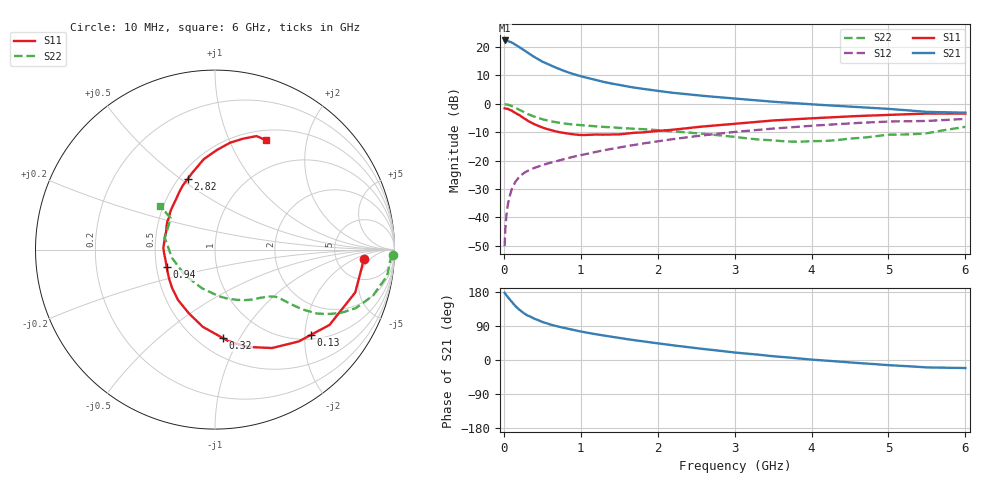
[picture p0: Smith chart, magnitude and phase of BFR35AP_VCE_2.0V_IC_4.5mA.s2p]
! Infineon Technologies  Discrete & RF Semiconductors
! BFR35AP
! VCE =  2.0 V,  IC =  4.5 mA
! Common Emitter S-Parameters:  Nov 2015
# GHz  S  MA  R  50
!  f  S11  S21  S12  S22
! GHz  MAG  ANG  MAG  ANG  MAG  ANG  MAG  ANG
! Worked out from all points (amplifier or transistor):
!   210 points, 10 MHz to 6 GHz, reference 50 ohm
!   highest |S21| = 22.3 dB at 10 MHz (marker M1)
!   |S21| within 3 dB of that: start of sweep to 237.3 MHz
!   unconditionally stable (mu >= 1): 791.4 MHz to 4.128 GHz; 5.296 GHz to 5.831 GHz
!   at 185 MHz: K = 0.36, MSG = 23.3 dB, |S12| = -26.3 dB
!   at 1.52 GHz: K = 1.15, MAG = 8.6 dB, |S12| = -15.3 dB
!   at 6 GHz: K = 0.99, MSG = 1.1 dB, |S12| = -5.3 dB
!   S11 on the Smith chart (normalised r, x): 10 MHz: 10, -3; 130 MHz: 1.11, -2.15; 320 MHz: 0.65, -0.85; 940 MHz: 0.57, -0.12; 2.82 GHz: 0.55, +0.53; 6 GHz: 0.62, +1.38
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0.01  0.8309 -3.5  13.06 177.4  0.0031 87.0  0.9908 -1.7
0.025  0.8207 -8.7  12.98 173.0  0.008 84.4  0.9764 -4.3
0.055  0.8089 -18.5  12.7 165.1  0.0175 79.1  0.9644 -9.3
0.1  0.7639 -33.3  12.11 153.9  0.0304 72.7  0.9174 -16.2
0.13  0.7156 -41.5  11.42 147.0  0.0374 68.0  0.8761 -19.9
0.15  0.6926 -47.6  11.06 142.0  0.0421 65.8  0.8507 -22.5
0.2  0.6338 -59.9  10 133.0  0.0514 62.0  0.7853 -26.7
0.26  0.5583 -73.7  8.819 123.5  0.06 57.5  0.7109 -30.3
0.32  0.4953 -84.8  7.792 116.6  0.0667 55.5  0.6516 -32.6
0.4  0.4359 -98.9  6.627 108.7  0.0745 53.6  0.5886 -34.4
0.5  0.3834 -112.4  5.532 100.5  0.0831 52.8  0.5338 -35.5
0.6  0.3483 -126.2  4.787 93.9  0.091 52.6  0.4953 -36.1
0.72  0.3167 -139.9  4.106 87.5  0.1006 53.3  0.463 -36.7
0.94  0.2862 -159.8  3.228 77.7  0.1195 53.9  0.4271 -38.0
1.02  0.2819 -167.7  3.009 74.5  0.1262 54.0  0.4181 -38.7
1.4  0.2887 165.4  2.27 61.4  0.1604 54.0  0.3847 -43.4
2.02  0.3339 136.2  1.676 43.4  0.2205 50.9  0.3413 -54.8
2.82  0.4228 110.9  1.297 24.1  0.3007 43.7  0.2765 -77.6
3.1  0.4561 104.6  1.201 18.0  0.3281 40.2  0.2514 -89.0
4.1  0.5638 87.4  0.96 -0.3  0.4185 27.8  0.22 -146.3
5.1  0.6437 74.6  0.795 -14.7  0.4887 13.8  0.2861 162.4
6  0.6724 64.9  0.698 -21.2  0.5415 3.7  0.3926 141.4
